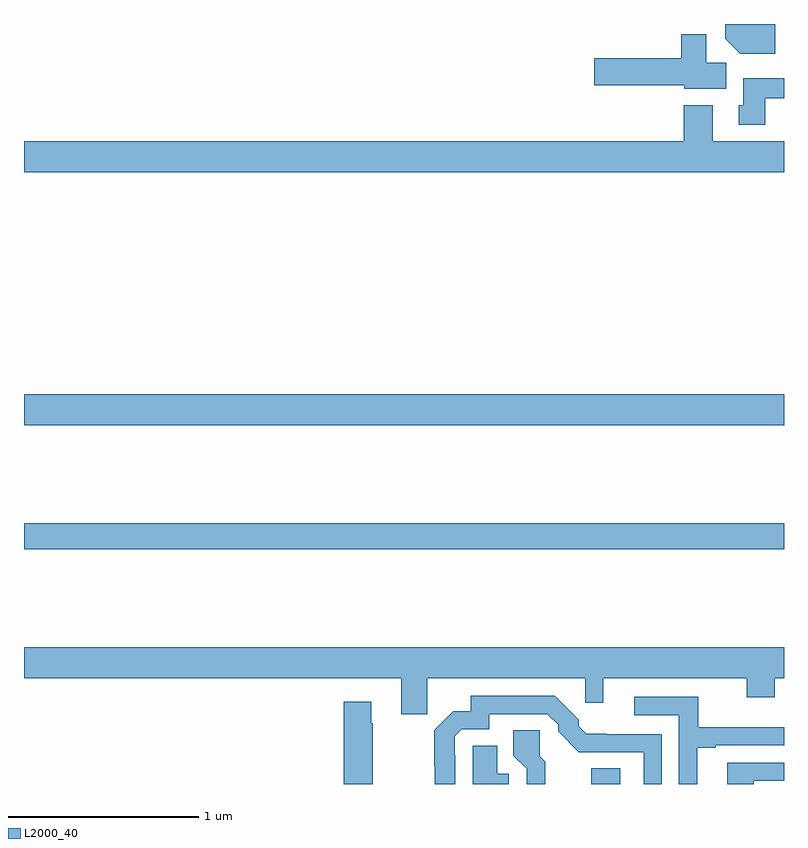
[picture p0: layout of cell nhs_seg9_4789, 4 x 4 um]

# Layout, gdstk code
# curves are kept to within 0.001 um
import gdstk
lib = gdstk.Library(unit=1e-6, precision=1e-09)
def R(c, l, rs):  # rectangles x0, y0, x1, y1
    for r in rs: c.add(gdstk.rectangle(r[:2], r[2:], *l))
def P(c, l, *ps):  # polygons
    for p in ps: c.add(gdstk.Polygon(p, *l))
L2000_40 = (2000, 40)

nhs_seg9_4789 = lib.new_cell('nhs_seg9_4789')
R(nhs_seg9_4789, L2000_40, [(389.985,1226.5,390.139,1226.582), (387,1227.736,391,1227.872), (387,1228.388,391,1228.552)])
P(nhs_seg9_4789, L2000_40, [(390.953,1230.5),(390.692,1230.5),(390.692,1230.422),(390.77,1230.344),(390.953,1230.344)],
  [(390.697,1230.296),(390.592,1230.296),(390.592,1230.445),(390.458,1230.445),(390.458,1230.32),(390,1230.32),(390,1230.178),(390.474,1230.178),(390.474,1230.158),(390.697,1230.158)],
  [(390.901,1230.11),(391,1230.11),(391,1230.214),(390.785,1230.214),(390.785,1230.072),(390.761,1230.072),(390.761,1229.97),(390.901,1229.97)],
  [(391,1229.884),(390.625,1229.884),(390.625,1230.073),(390.473,1230.073),(390.473,1229.884),(387,1229.884),(387,1229.72),(391,1229.72)],
  [(389.123,1227.056),(389.953,1227.056),(389.953,1226.927),(390.049,1226.927),(390.049,1227.056),(390.803,1227.056),(390.803,1226.957),(390.951,1226.957),(390.951,1227.056),(391,1227.056),(391,1227.22),(387,1227.22),(387,1227.056),(388.985,1227.056),(388.985,1226.868),(389.123,1226.868)],
  [(389.271,1226.651),(389.268,1226.651),(389.268,1226.751),(389.304,1226.787),(389.448,1226.787),(389.448,1226.868),(389.754,1226.868),(389.811,1226.811),(389.811,1226.777),(389.921,1226.667),(390.261,1226.667),(390.261,1226.5),(390.357,1226.5),(390.357,1226.763),(389.96,1226.764),(389.92,1226.805),(389.92,1226.839),(389.794,1226.964),(389.35,1226.964),(389.35,1226.884),(389.26,1226.884),(389.16,1226.784),(389.16,1226.593),(389.163,1226.593),(389.163,1226.5),(389.271,1226.5)],
  [(390.544,1226.691),(390.64,1226.691),(390.64,1226.703),(391,1226.703),(391,1226.8),(390.548,1226.8),(390.548,1226.958),(390.213,1226.958),(390.213,1226.862),(390.447,1226.862),(390.447,1226.5),(390.544,1226.5)],
  [(388.836,1226.819),(388.828,1226.819),(388.828,1226.932),(388.682,1226.932),(388.682,1226.5),(388.836,1226.5)],
  [(389.744,1226.618),(389.715,1226.647),(389.715,1226.782),(389.576,1226.782),(389.576,1226.65),(389.646,1226.58),(389.646,1226.5),(389.744,1226.5)],
  [(389.55,1226.555),(389.491,1226.555),(389.491,1226.702),(389.361,1226.702),(389.361,1226.5),(389.55,1226.5)],
  [(390.841,1226.517),(391,1226.517),(391,1226.613),(390.701,1226.613),(390.701,1226.5),(390.841,1226.5)])

lib.write_gds('nhs_seg9_4789.gds')
